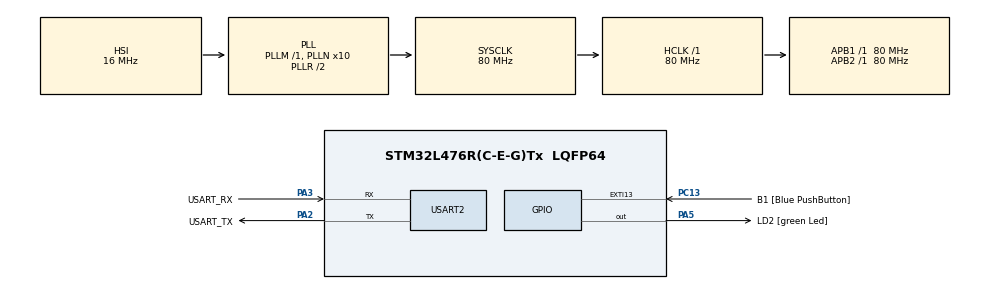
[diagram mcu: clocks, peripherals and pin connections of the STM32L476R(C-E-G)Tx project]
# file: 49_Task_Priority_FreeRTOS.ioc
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FREERTOS.Tasks01=defaultTask,0,128,StartDefaultTask,Default,NULL,Dynamic,NULL,NULL
Mcu.Family=STM32L4
Mcu.Name=STM32L476R(C-E-G)Tx
Mcu.Package=LQFP64
NVIC.EXTI15_10_IRQn=true\:5\:0\:false\:false\:true\:true\:true\:true\:true
NVIC.PriorityGroup=NVIC_PRIORITYGROUP_4
PA13\ (JTMS-SWDIO).GPIO_Label=TMS
PA13\ (JTMS-SWDIO).Mode=Serial_Wire
PA13\ (JTMS-SWDIO).Signal=SYS_JTMS-SWDIO
PA14\ (JTCK-SWCLK).GPIO_Label=TCK
PA14\ (JTCK-SWCLK).Mode=Serial_Wire
PA14\ (JTCK-SWCLK).Signal=SYS_JTCK-SWCLK
PA2.GPIO_Label=USART_TX
PA2.GPIO_Mode=GPIO_MODE_AF_PP
PA2.GPIO_PuPd=GPIO_NOPULL
PA2.GPIO_Speed=GPIO_SPEED_FREQ_VERY_HIGH
PA2.Mode=Asynchronous
PA2.Signal=USART2_TX
PA3.GPIO_Label=USART_RX
PA3.GPIO_Mode=GPIO_MODE_AF_PP
PA3.GPIO_PuPd=GPIO_NOPULL
PA3.GPIO_Speed=GPIO_SPEED_FREQ_VERY_HIGH
PA3.Mode=Asynchronous
PA3.Signal=USART2_RX
PA5.GPIO_Label=LD2 [green Led]
PA5.GPIO_ModeDefaultOutputPP=GPIO_MODE_OUTPUT_PP
PA5.GPIO_PuPd=GPIO_NOPULL
PA5.GPIO_Speed=GPIO_SPEED_FREQ_LOW
PA5.Signal=GPIO_Output
PB3\ (JTDO-TRACESWO).GPIO_Label=SWO
PB3\ (JTDO-TRACESWO).Signal=SYS_JTDO-SWO
PC13.GPIO_Label=B1 [Blue PushButton]
PC13.GPIO_ModeDefaultEXTI=GPIO_MODE_IT_FALLING
PC13.GPIO_PuPd=GPIO_NOPULL
PC13.Signal=GPXTI13
PC14-OSC32_IN\ (PC14).Mode=LSE-External-Oscillator
PC14-OSC32_IN\ (PC14).Signal=RCC_OSC32_IN
PC15-OSC32_OUT\ (PC15).Mode=LSE-External-Oscillator
PC15-OSC32_OUT\ (PC15).Signal=RCC_OSC32_OUT
PH0-OSC_IN\ (PH0).Signal=RCC_OSC_IN
PH1-OSC_OUT\ (PH1).Signal=RCC_OSC_OUT
ProjectManager.HeapSize=0x200
ProjectManager.StackSize=0x400
ProjectManager.TargetToolchain=STM32CubeIDE
RCC.ADCFreq_Value=64000000
RCC.AHBFreq_Value=80000000
RCC.APB1Freq_Value=80000000
RCC.APB1TimFreq_Value=80000000
RCC.APB2Freq_Value=80000000
RCC.APB2TimFreq_Value=80000000
RCC.CortexFreq_Value=80000000
RCC.HCLKFreq_Value=80000000
RCC.HSE_VALUE=8000000
RCC.HSI_VALUE=16000000
RCC.MSI_VALUE=4000000
RCC.PLLN=10
RCC.PLLSourceVirtual=RCC_PLLSOURCE_HSI
RCC.PREFETCH_ENABLE=1
RCC.SYSCLKFreq_VALUE=80000000
RCC.SYSCLKSource=RCC_SYSCLKSOURCE_PLLCLK
RCC.USBFreq_Value=64000000
RCC.VCOOutputFreq_Value=160000000
USART2.VirtualMode-Asynchronous=VM_ASYNC
VP_FREERTOS_VS_CMSIS_V1.Mode=CMSIS_V1
board=NUCLEO-L476RG

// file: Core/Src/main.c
/* USER CODE BEGIN Header */
/**
  ******************************************************************************
  * @file           : main.c
  * @brief          : Main program body
  ******************************************************************************
  * @attention
  *
  * Copyright (c) 2025 STMicroelectronics.
  * All rights reserved.
  *
  * This software is licensed under terms that can be found in the LICENSE file
  * in the root directory of this software component.
  * If no LICENSE file comes with this software, it is provided AS-IS.
  *
  ******************************************************************************
  */
/* USER CODE END Header */
#include "main.h"
#include "cmsis_os.h"

/* USER CODE BEGIN PTD */
TaskHandle_t xTaskHandle1 = {0};
TaskHandle_t xTaskHandle2 = {0};
uint8_t switchState = RESET;
/* USER CODE END PTD */

UART_HandleTypeDef huart2;

osThreadId defaultTaskHandle;
/* USER CODE BEGIN PV */
/*
* Function Name : void task1Handle(void *para)
* Description   : This function to control LED depending on button notification
*/
int __io_putchar(int ch)
{
	HAL_UART_Transmit(&huart2, (uint8_t*)&ch, 1, HAL_MAX_DELAY);
	return ch;
}

void task1LEDHandle(void *para)
{
	uint32_t taskPrio1 =RESET,taskPrio2 =RESET;
	printf("\nTask 1 Running \n Task 1 Priority %ld\n\r",uxTaskPriorityGet(xTaskHandle1));
	/* Infinite loop */
	while(1U)
	{
		if(!switchState)
		{
			HAL_GPIO_TogglePin(GPIOA, GPIO_PIN_5);
			vTaskDelay(1000);
		}
		else
		{
			switchState = RESET;
			taskPrio1 = uxTaskPriorityGet(xTaskHandle1);
			taskPrio2 = uxTaskPriorityGet(xTaskHandle2);
			printf("Task 1 Priority %ld\n\r",uxTaskPriorityGet(xTaskHandle1));
			printf("Task 2 Priority %ld\n\r",uxTaskPriorityGet(xTaskHandle2));
			vTaskPrioritySet(xTaskHandle1, taskPrio2);
			vTaskPrioritySet(xTaskHandle2, taskPrio1);
		}
	}
}
/*
* Function Name :  void task2Handle(void *para)
* Description   :  This Function to update button status
*/
void task2SwitchHandle(void *para)
{
	uint32_t taskPrio1 =RESET,taskPrio2 =RESET;
	printf("\nTask 2 Running \n Task 2 Priority %ld\n\r",uxTaskPriorityGet(xTaskHandle2));
	while(1U)
	{
		if(!switchState)
		{
			HAL_GPIO_TogglePin(GPIOA, GPIO_PIN_5);
			vTaskDelay(100);
		}
		else
		{
			switchState = RESET;

			taskPrio1 = uxTaskPriorityGet(xTaskHandle1);
			taskPrio2 = uxTaskPriorityGet(xTaskHandle2);
			printf("Task 1 Priority %ld\n\r",uxTaskPriorityGet(xTaskHandle1));
			printf("Task 2 Priority %ld\n\r",uxTaskPriorityGet(xTaskHandle2));
			vTaskPrioritySet(xTaskHandle1, taskPrio2);
			vTaskPrioritySet(xTaskHandle2, taskPrio1);
		}
	}
}

/*void EXTI15_10_IRQHandler(void)
{
	switchState = SET;
}*/
void HAL_GPIO_EXTI_Callback(uint16_t GPIO_Pin)
{
	/* Function to Send message on UART */
	//HAL_UART_Transmit(&huart2, "EXT Interrupt\r\n",16,HAL_MAX_DELAY);
	/* Function to Toggle LED */
	switchState = SET;
}
/* USER CODE END PV */

void SystemClock_Config(void);
static void MX_GPIO_Init(void);
static void MX_USART2_UART_Init(void);
void StartDefaultTask(void const * argument);

int main(void)
{

  /* MCU Configuration--------------------------------------------------------*/

  /* Reset of all peripherals, Initializes the Flash interface and the Systick. */
  HAL_Init();

  /* Configure the system clock */
  SystemClock_Config();

  /* Initialize all configured peripherals */
  MX_GPIO_Init();
  MX_USART2_UART_Init();

  /* Create the thread(s) */
  /* definition and creation of defaultTask */
  osThreadDef(defaultTask, StartDefaultTask, osPriorityNormal, 0, 128);
  defaultTaskHandle = osThreadCreate(osThread(defaultTask), NULL);

  /* USER CODE BEGIN RTOS_THREADS */
  /* add threads, ... */
  /* Function call to create task 1*/
  xTaskCreate(task1LEDHandle, "LED Blink ", configMINIMAL_STACK_SIZE , NULL, 1, &xTaskHandle1);
  /* Function call to create task 2*/
   xTaskCreate(task2SwitchHandle, "Switch State ", configMINIMAL_STACK_SIZE , NULL, 2, &xTaskHandle2);
  /* USER CODE END RTOS_THREADS */

  /* Start scheduler */
  osKernelStart();

  /* We should never get here as control is now taken by the scheduler */

  /* Infinite loop */
  while (1)
  {

  }
}

void SystemClock_Config(void)
{
  RCC_OscInitTypeDef RCC_OscInitStruct = {0};
  RCC_ClkInitTypeDef RCC_ClkInitStruct = {0};

  /** Configure the main internal regulator output voltage
  */
  if (HAL_PWREx_ControlVoltageScaling(PWR_REGULATOR_VOLTAGE_SCALE1) != HAL_OK)
  {
    Error_Handler();
  }

  /** Initializes the RCC Oscillators according to the specified parameters
  * in the RCC_OscInitTypeDef structure.
  */
  RCC_OscInitStruct.OscillatorType = RCC_OSCILLATORTYPE_HSI;
  RCC_OscInitStruct.HSIState = RCC_HSI_ON;
  RCC_OscInitStruct.HSICalibrationValue = RCC_HSICALIBRATION_DEFAULT;
  RCC_OscInitStruct.PLL.PLLState = RCC_PLL_ON;
  RCC_OscInitStruct.PLL.PLLSource = RCC_PLLSOURCE_HSI;
  RCC_OscInitStruct.PLL.PLLM = 1;
  RCC_OscInitStruct.PLL.PLLN = 10;
  RCC_OscInitStruct.PLL.PLLP = RCC_PLLP_DIV7;
  RCC_OscInitStruct.PLL.PLLQ = RCC_PLLQ_DIV2;
  RCC_OscInitStruct.PLL.PLLR = RCC_PLLR_DIV2;
  if (HAL_RCC_OscConfig(&RCC_OscInitStruct) != HAL_OK)
  {
    Error_Handler();
  }

  /** Initializes the CPU, AHB and APB buses clocks
  */
  RCC_ClkInitStruct.ClockType = RCC_CLOCKTYPE_HCLK|RCC_CLOCKTYPE_SYSCLK
                              |RCC_CLOCKTYPE_PCLK1|RCC_CLOCKTYPE_PCLK2;
  RCC_ClkInitStruct.SYSCLKSource = RCC_SYSCLKSOURCE_PLLCLK;
  RCC_ClkInitStruct.AHBCLKDivider = RCC_SYSCLK_DIV1;
  RCC_ClkInitStruct.APB1CLKDivider = RCC_HCLK_DIV1;
  RCC_ClkInitStruct.APB2CLKDivider = RCC_HCLK_DIV1;

  if (HAL_RCC_ClockConfig(&RCC_ClkInitStruct, FLASH_LATENCY_4) != HAL_OK)
  {
    Error_Handler();
  }
}

static void MX_USART2_UART_Init(void)
{

  huart2.Instance = USART2;
  huart2.Init.BaudRate = 115200;
  huart2.Init.WordLength = UART_WORDLENGTH_8B;
  huart2.Init.StopBits = UART_STOPBITS_1;
  huart2.Init.Parity = UART_PARITY_NONE;
  huart2.Init.Mode = UART_MODE_TX_RX;
  huart2.Init.HwFlowCtl = UART_HWCONTROL_NONE;
  huart2.Init.OverSampling = UART_OVERSAMPLING_16;
  huart2.Init.OneBitSampling = UART_ONE_BIT_SAMPLE_DISABLE;
  huart2.AdvancedInit.AdvFeatureInit = UART_ADVFEATURE_NO_INIT;
  if (HAL_UART_Init(&huart2) != HAL_OK)
  {
    Error_Handler();
  }

}

static void MX_GPIO_Init(void)
{
  GPIO_InitTypeDef GPIO_InitStruct = {0};

  /* GPIO Ports Clock Enable */
  __HAL_RCC_GPIOC_CLK_ENABLE();
  __HAL_RCC_GPIOH_CLK_ENABLE();
  __HAL_RCC_GPIOA_CLK_ENABLE();
  __HAL_RCC_GPIOB_CLK_ENABLE();

  /*Configure GPIO pin Output Level */
  HAL_GPIO_WritePin(LD2_GPIO_Port, LD2_Pin, GPIO_PIN_RESET);

  /*Configure GPIO pin : B1_Pin */
  GPIO_InitStruct.Pin = B1_Pin;
  GPIO_InitStruct.Mode = GPIO_MODE_IT_FALLING;
  GPIO_InitStruct.Pull = GPIO_NOPULL;
  HAL_GPIO_Init(B1_GPIO_Port, &GPIO_InitStruct);

  /*Configure GPIO pin : LD2_Pin */
  GPIO_InitStruct.Pin = LD2_Pin;
  GPIO_InitStruct.Mode = GPIO_MODE_OUTPUT_PP;
  GPIO_InitStruct.Pull = GPIO_NOPULL;
  GPIO_InitStruct.Speed = GPIO_SPEED_FREQ_LOW;
  HAL_GPIO_Init(LD2_GPIO_Port, &GPIO_InitStruct);

  /* EXTI interrupt init*/
  HAL_NVIC_SetPriority(EXTI15_10_IRQn, 5, 0);
  HAL_NVIC_EnableIRQ(EXTI15_10_IRQn);

}

void StartDefaultTask(void const * argument)
{
  for(;;)
  {
    osDelay(1);
  }
}

void Error_Handler(void)
{
  __disable_irq();
  while (1)
  {
  }
}
